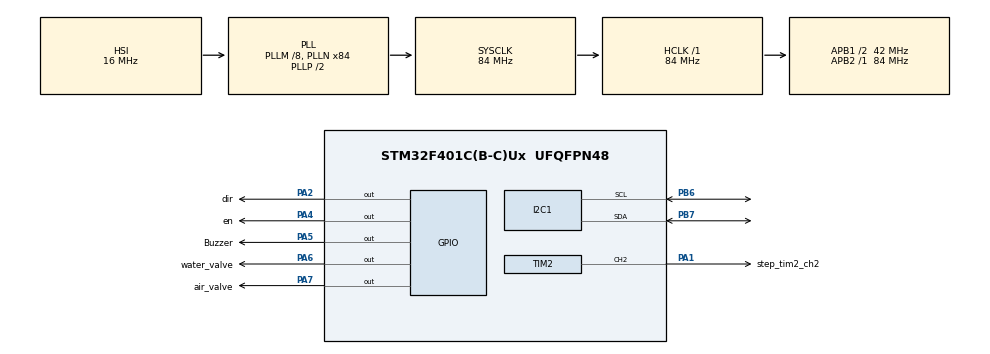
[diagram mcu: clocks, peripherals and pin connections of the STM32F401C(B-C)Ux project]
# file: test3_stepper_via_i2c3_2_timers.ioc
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I2C1.OwnAddress=0x12
Mcu.Family=STM32F4
Mcu.Name=STM32F401C(B-C)Ux
Mcu.Package=UFQFPN48
NVIC.I2C1_ER_IRQn=true\:0\:0\:false\:false\:true\:true\:true\:true
NVIC.I2C1_EV_IRQn=true\:0\:0\:false\:false\:true\:true\:true\:true
NVIC.PriorityGroup=NVIC_PRIORITYGROUP_4
NVIC.TIM3_IRQn=true\:0\:0\:false\:false\:true\:true\:true\:true
PA1.GPIO_Label=step_tim2_ch2
PA1.Signal=S_TIM2_CH2
PA13.Mode=Serial_Wire
PA13.Signal=SYS_JTMS-SWDIO
PA14.Mode=Serial_Wire
PA14.Signal=SYS_JTCK-SWCLK
PA2.GPIO_Label=dir
PA2.Signal=GPIO_Output
PA4.GPIO_Label=en
PA4.Signal=GPIO_Output
PA5.GPIO_Label=Buzzer
PA5.Signal=GPIO_Output
PA6.GPIO_Label=water_valve
PA6.Signal=GPIO_Output
PA7.GPIO_Label=air_valve
PA7.Signal=GPIO_Output
PB6.Mode=I2C
PB6.Signal=I2C1_SCL
PB7.Mode=I2C
PB7.Signal=I2C1_SDA
PC14-OSC32_IN.Mode=LSE-External-Oscillator
PC14-OSC32_IN.Signal=RCC_OSC32_IN
PC15-OSC32_OUT.Mode=LSE-External-Oscillator
PC15-OSC32_OUT.Signal=RCC_OSC32_OUT
PH0\ -\ OSC_IN.Mode=HSE-External-Oscillator
PH0\ -\ OSC_IN.Signal=RCC_OSC_IN
PH1\ -\ OSC_OUT.Mode=HSE-External-Oscillator
PH1\ -\ OSC_OUT.Signal=RCC_OSC_OUT
ProjectManager.HeapSize=0x200
ProjectManager.StackSize=0x400
ProjectManager.TargetToolchain=STM32CubeIDE
RCC.48MHZClocksFreq_Value=42000000
RCC.AHBFreq_Value=84000000
RCC.APB1CLKDivider=RCC_HCLK_DIV2
RCC.APB1Freq_Value=42000000
RCC.APB1TimFreq_Value=84000000
RCC.APB2Freq_Value=84000000
RCC.APB2TimFreq_Value=84000000
RCC.CortexFreq_Value=84000000
RCC.HCLKFreq_Value=84000000
RCC.HSE_VALUE=25000000
RCC.HSI_VALUE=16000000
RCC.PLLM=8
RCC.PLLN=84
RCC.SYSCLKFreq_VALUE=84000000
RCC.SYSCLKSource=RCC_SYSCLKSOURCE_PLLCLK
RCC.VCOOutputFreq_Value=168000000
SH.S_TIM2_CH2.0=TIM2_CH2,PWM Generation2 CH2
TIM2.AutoReloadPreload=TIM_AUTORELOAD_PRELOAD_ENABLE
TIM2.Channel-PWM\ Generation2\ CH2=TIM_CHANNEL_2
TIM2.Period=999
TIM2.Prescaler=83
TIM2.Pulse-PWM\ Generation2\ CH2=500
TIM3.AutoReloadPreload=TIM_AUTORELOAD_PRELOAD_ENABLE
TIM3.Prescaler=8399
VP_TIM2_VS_ClockSourceINT.Mode=Internal
VP_TIM3_VS_ClockSourceINT.Mode=Internal
board=custom

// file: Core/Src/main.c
/* USER CODE BEGIN Header */
/**
  ******************************************************************************
  * @file           : main.c
  * @brief          : Main program body
  ******************************************************************************
  * @attention
  *
  * Copyright (c) 2025 STMicroelectronics.
  * All rights reserved.
  *
  * This software is licensed under terms that can be found in the LICENSE file
  * in the root directory of this software component.
  * If no LICENSE file comes with this software, it is provided AS-IS.
  *
  ******************************************************************************
  */
/* USER CODE END Header */
#include "main.h"

/* USER CODE BEGIN Includes */
#include "stepper.h"
#include "i2c_slave.h"

/* USER CODE END Includes */

I2C_HandleTypeDef hi2c1;

TIM_HandleTypeDef htim2;
TIM_HandleTypeDef htim3;

void SystemClock_Config(void);
static void MX_GPIO_Init(void);
static void MX_TIM2_Init(void);
static void MX_I2C1_Init(void);
static void MX_TIM3_Init(void);

/* USER CODE BEGIN 0 */
static void stepper_wait(void)
{
    while (stepper_busy)
    {
        // do nothing, or __WFI();
    }
}

/* USER CODE END 0 */

int main(void)
{

  /* MCU Configuration--------------------------------------------------------*/

  /* Reset of all peripherals, Initializes the Flash interface and the Systick. */
  HAL_Init();

  /* Configure the system clock */
  SystemClock_Config();

  /* Initialize all configured peripherals */
  MX_GPIO_Init();
  MX_TIM2_Init();
  MX_I2C1_Init();
  MX_TIM3_Init();
  /* USER CODE BEGIN 2 */

  stepper_move(0, 1, 5000);
  stepper_wait();

  HAL_Delay(60);

  stepper_move(0, 1, 5000);
  stepper_wait();

  //
//  stepper_move(0, 1, 8000);
//  stepper_wait();

//  stepper_move(0, 1, 5000);
//  stepper_wait();
//
//  HAL_GPIO_WritePin(Buzzer_GPIO_Port, Buzzer_Pin, GPIO_PIN_SET);
//  HAL_Delay(25);
//  HAL_GPIO_WritePin(Buzzer_GPIO_Port, Buzzer_Pin, GPIO_PIN_RESET);
//
//  HAL_Delay(2000);
//
//  stepper_move(0, 2, 7000);
//  stepper_wait();
//
//  stepper_move(0, 2, 3000);
//  stepper_wait();
//
//  stepper_move(1, 2, 4000);
//  stepper_wait();

  HAL_I2C_EnableListen_IT(&hi2c1);

  /* USER CODE END 2 */

  /* Infinite loop */
  /* USER CODE BEGIN WHILE */

  while (1)
  {
	  if (i2c_cmd_ready)
	      {
	          i2c_cmd_ready = 0;   // clear flag

	          // ----- COMMAND DECODING -----

	          if (RxData[0] == 0x01) // fill flowcell
	          {
	        	  stepper_move(0, 1, 5000); //6000
//	        	  HAL_Delay(10);
	        	  stepper_move(0, 1, 5000);

	        	  HAL_GPIO_WritePin(Buzzer_GPIO_Port, Buzzer_Pin, GPIO_PIN_SET);
	        	  HAL_Delay(25);
	        	  HAL_GPIO_WritePin(Buzzer_GPIO_Port, Buzzer_Pin, GPIO_PIN_RESET);

	        	  HAL_Delay(2000);

	        	  stepper_move(0, 2, 7000); //7000

	        	  HAL_Delay(60);
	        	  stepper_move(0, 2, 3000); //900

	        	  HAL_Delay(60);
	        	  stepper_move(1, 2, 4000);

	          }

	          if (RxData[1] == 0x01) // clear flowcell
	          {
	        	  HAL_Delay(60);
	        	  stepper_move(0, 8, 7000);
	          }

	          if (RxData[2] == 0x01) // fill_empty_di or flow_di
			  {
				  HAL_Delay(60);
				  stepper_move(0, 6, 7000);
			  }

	          if (RxData[3] == 0x01) // clear with di
			  {
				  HAL_Delay(60);
				  stepper_move(0, 4, 7000);
			  }

	          if (RxData[4] == 0x01) // reverse
			  {
				  HAL_Delay(60);
				  stepper_move(1, 3, 7000);
			  }

	          if (RxData[5] == 0x01) // leave_flowcell
			  {
				  HAL_Delay(60);
				  stepper_move(0, 4, 7000);
			  }

	          if (RxData[6] == 0x01) // clear
			  {
				  HAL_Delay(60);
				  stepper_move(0, 10, 7000);
			  }
	      }

    /* USER CODE END WHILE */

  }
}

void SystemClock_Config(void)
{
  RCC_OscInitTypeDef RCC_OscInitStruct = {0};
  RCC_ClkInitTypeDef RCC_ClkInitStruct = {0};

  /** Configure the main internal regulator output voltage
  */
  __HAL_RCC_PWR_CLK_ENABLE();
  __HAL_PWR_VOLTAGESCALING_CONFIG(PWR_REGULATOR_VOLTAGE_SCALE2);

  /** Initializes the RCC Oscillators according to the specified parameters
  * in the RCC_OscInitTypeDef structure.
  */
  RCC_OscInitStruct.OscillatorType = RCC_OSCILLATORTYPE_HSI;
  RCC_OscInitStruct.HSIState = RCC_HSI_ON;
  RCC_OscInitStruct.HSICalibrationValue = RCC_HSICALIBRATION_DEFAULT;
  RCC_OscInitStruct.PLL.PLLState = RCC_PLL_ON;
  RCC_OscInitStruct.PLL.PLLSource = RCC_PLLSOURCE_HSI;
  RCC_OscInitStruct.PLL.PLLM = 8;
  RCC_OscInitStruct.PLL.PLLN = 84;
  RCC_OscInitStruct.PLL.PLLP = RCC_PLLP_DIV2;
  RCC_OscInitStruct.PLL.PLLQ = 4;
  if (HAL_RCC_OscConfig(&RCC_OscInitStruct) != HAL_OK)
  {
    Error_Handler();
  }

  /** Initializes the CPU, AHB and APB buses clocks
  */
  RCC_ClkInitStruct.ClockType = RCC_CLOCKTYPE_HCLK|RCC_CLOCKTYPE_SYSCLK
                              |RCC_CLOCKTYPE_PCLK1|RCC_CLOCKTYPE_PCLK2;
  RCC_ClkInitStruct.SYSCLKSource = RCC_SYSCLKSOURCE_PLLCLK;
  RCC_ClkInitStruct.AHBCLKDivider = RCC_SYSCLK_DIV1;
  RCC_ClkInitStruct.APB1CLKDivider = RCC_HCLK_DIV2;
  RCC_ClkInitStruct.APB2CLKDivider = RCC_HCLK_DIV1;

  if (HAL_RCC_ClockConfig(&RCC_ClkInitStruct, FLASH_LATENCY_2) != HAL_OK)
  {
    Error_Handler();
  }
}

static void MX_I2C1_Init(void)
{

  hi2c1.Instance = I2C1;
  hi2c1.Init.ClockSpeed = 100000;
  hi2c1.Init.DutyCycle = I2C_DUTYCYCLE_2;
  hi2c1.Init.OwnAddress1 = 36;
  hi2c1.Init.AddressingMode = I2C_ADDRESSINGMODE_7BIT;
  hi2c1.Init.DualAddressMode = I2C_DUALADDRESS_DISABLE;
  hi2c1.Init.OwnAddress2 = 0;
  hi2c1.Init.GeneralCallMode = I2C_GENERALCALL_DISABLE;
  hi2c1.Init.NoStretchMode = I2C_NOSTRETCH_DISABLE;
  if (HAL_I2C_Init(&hi2c1) != HAL_OK)
  {
    Error_Handler();
  }

}

static void MX_TIM2_Init(void)
{

  TIM_ClockConfigTypeDef sClockSourceConfig = {0};
  TIM_MasterConfigTypeDef sMasterConfig = {0};
  TIM_OC_InitTypeDef sConfigOC = {0};

  htim2.Instance = TIM2;
  htim2.Init.Prescaler = 83;
  htim2.Init.CounterMode = TIM_COUNTERMODE_UP;
  htim2.Init.Period = 999;
  htim2.Init.ClockDivision = TIM_CLOCKDIVISION_DIV1;
  htim2.Init.AutoReloadPreload = TIM_AUTORELOAD_PRELOAD_ENABLE;
  if (HAL_TIM_Base_Init(&htim2) != HAL_OK)
  {
    Error_Handler();
  }
  sClockSourceConfig.ClockSource = TIM_CLOCKSOURCE_INTERNAL;
  if (HAL_TIM_ConfigClockSource(&htim2, &sClockSourceConfig) != HAL_OK)
  {
    Error_Handler();
  }
  if (HAL_TIM_PWM_Init(&htim2) != HAL_OK)
  {
    Error_Handler();
  }
  sMasterConfig.MasterOutputTrigger = TIM_TRGO_RESET;
  sMasterConfig.MasterSlaveMode = TIM_MASTERSLAVEMODE_DISABLE;
  if (HAL_TIMEx_MasterConfigSynchronization(&htim2, &sMasterConfig) != HAL_OK)
  {
    Error_Handler();
  }
  sConfigOC.OCMode = TIM_OCMODE_PWM1;
  sConfigOC.Pulse = 500;
  sConfigOC.OCPolarity = TIM_OCPOLARITY_HIGH;
  sConfigOC.OCFastMode = TIM_OCFAST_DISABLE;
  if (HAL_TIM_PWM_ConfigChannel(&htim2, &sConfigOC, TIM_CHANNEL_2) != HAL_OK)
  {
    Error_Handler();
  }
  HAL_TIM_MspPostInit(&htim2);

}

static void MX_TIM3_Init(void)
{

  TIM_ClockConfigTypeDef sClockSourceConfig = {0};
  TIM_MasterConfigTypeDef sMasterConfig = {0};

  htim3.Instance = TIM3;
  htim3.Init.Prescaler = 83999;
  htim3.Init.CounterMode = TIM_COUNTERMODE_UP;
  htim3.Init.Period = 65535;
  htim3.Init.ClockDivision = TIM_CLOCKDIVISION_DIV1;
  htim3.Init.AutoReloadPreload = TIM_AUTORELOAD_PRELOAD_ENABLE;
  if (HAL_TIM_Base_Init(&htim3) != HAL_OK)
  {
    Error_Handler();
  }
  sClockSourceConfig.ClockSource = TIM_CLOCKSOURCE_INTERNAL;
  if (HAL_TIM_ConfigClockSource(&htim3, &sClockSourceConfig) != HAL_OK)
  {
    Error_Handler();
  }
  sMasterConfig.MasterOutputTrigger = TIM_TRGO_RESET;
  sMasterConfig.MasterSlaveMode = TIM_MASTERSLAVEMODE_DISABLE;
  if (HAL_TIMEx_MasterConfigSynchronization(&htim3, &sMasterConfig) != HAL_OK)
  {
    Error_Handler();
  }

}

static void MX_GPIO_Init(void)
{
  GPIO_InitTypeDef GPIO_InitStruct = {0};

  /* GPIO Ports Clock Enable */
  __HAL_RCC_GPIOC_CLK_ENABLE();
  __HAL_RCC_GPIOH_CLK_ENABLE();
  __HAL_RCC_GPIOA_CLK_ENABLE();
  __HAL_RCC_GPIOB_CLK_ENABLE();

  /*Configure GPIO pin Output Level */
  HAL_GPIO_WritePin(GPIOA, dir_Pin|en_Pin|Buzzer_Pin|water_valve_Pin
                          |air_valve_Pin, GPIO_PIN_RESET);

  /*Configure GPIO pins : dir_Pin en_Pin Buzzer_Pin water_valve_Pin
                           air_valve_Pin */
  GPIO_InitStruct.Pin = dir_Pin|en_Pin|Buzzer_Pin|water_valve_Pin
                          |air_valve_Pin;
  GPIO_InitStruct.Mode = GPIO_MODE_OUTPUT_PP;
  GPIO_InitStruct.Pull = GPIO_NOPULL;
  GPIO_InitStruct.Speed = GPIO_SPEED_FREQ_LOW;
  HAL_GPIO_Init(GPIOA, &GPIO_InitStruct);

}

void Error_Handler(void)
{
  __disable_irq();
  while (1)
  {
  }
}
